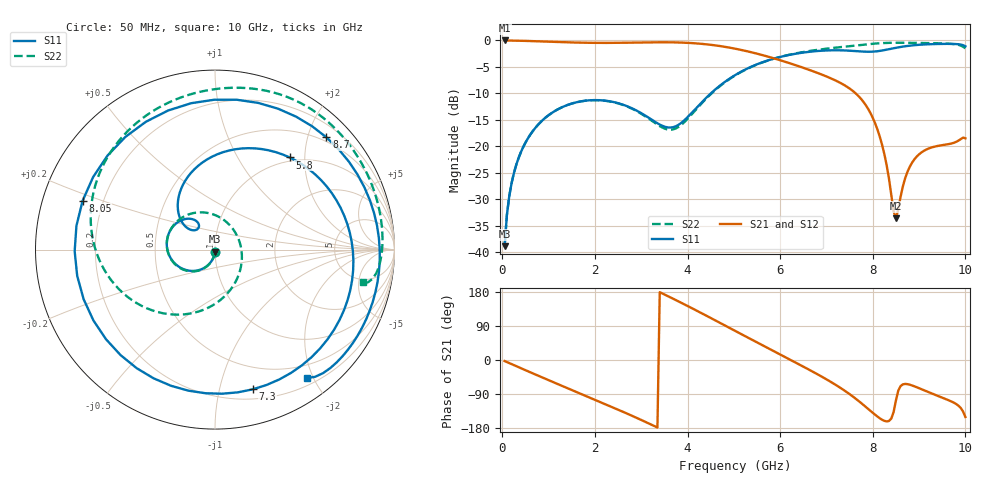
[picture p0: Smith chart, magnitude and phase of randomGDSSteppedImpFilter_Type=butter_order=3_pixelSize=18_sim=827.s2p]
! freq	dB(S11)	phase(S11)	dB(S12)	phase(S12)
!  dB(S21)	phase(S21)	dB(S22)	phase(S22)
!S-par simulation data
#  GHz  S  DB  R 50
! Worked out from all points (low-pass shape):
!   200 points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, 50 MHz to 10 GHz, reference 50 ohm
!   highest |S21| = -0.01 dB at 50 MHz (marker M1); lowest = -33.6 dB at 8.5 GHz (marker M2)
!   |S21| within 3 dB of the highest: start of sweep to 5.714 GHz
!   lowest |S11| = -38.9 dB at 50 MHz (marker M3), VSWR 1.02, Z = 49.9 - j1.14 ohm
!   |S11| at or under -10 dB: start of sweep to 4.504 GHz
!   |S22| runs from -38.9 to -0.4 dB; largest |S21 - S12| = 0
!   S11 on the Smith chart (normalised r, x): 50 MHz: 1.00, -0.02; 5.8 GHz: 0.93, +1.70; 7.3 GHz: 0.28, -1.27; 8.05 GHz: 0.12, +0.18; 8.7 GHz: 0.42, +2.34; 10 GHz: 0.30, -1.91
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0.05  -38.88 -92.2  -0.01 -2.7  -0.01 -2.7  -38.88 -92.1
0.2  -26.99 -101.1  -0.03 -10.8  -0.03 -10.8  -26.99 -100.8
0.5  -19.32 -117.8  -0.09 -26.9  -0.09 -26.9  -19.32 -117.0
1.15  -13.26 -152.4  -0.28 -61.0  -0.28 -61.0  -13.26 -151.0
1.75  -11.44 177.2  -0.43 -91.9  -0.43 -91.9  -11.44 177.5
2.55  -11.98 140.5  -0.45 -133.6  -0.45 -133.6  -12.03 131.2
3.4  -15.90 123.7  -0.35 178.9  -0.35 178.9  -16.20 53.4
3.75  -16.21 135.7  -0.38 158.0  -0.38 158.0  -16.62 -1.8
4.3  -11.75 138.4  -0.64 123.7  -0.64 123.7  -11.93 -74.1
5.05  -6.44 101.3  -1.60 75.5  -1.60 75.5  -6.50 -132.8
5.8  -3.60 51.0  -3.22 27.3  -3.22 27.3  -3.62 -178.3
6.3  -2.57 14.7  -4.58 -4.6  -4.58 -4.6  -2.51 154.5
6.7  -2.08 -16.7  -5.79 -30.5  -5.79 -30.5  -1.91 134.0
7.3  -1.87 -74.9  -8.02 -73.4  -8.02 -73.4  -1.27 104.9
7.65  -2.03 -123.4  -10.16 -103.8  -10.16 -103.8  -0.94 88.5
7.85  -2.13 -159.3  -12.24 -123.8  -12.24 -123.8  -0.76 79.1
8.05  -2.09 159.8  -15.65 -144.4  -15.65 -144.4  -0.59 69.6
8.35  -1.66 99.2  -26.13 -160.9  -26.13 -160.9  -0.46 55.3
8.5  -1.39 73.6  -33.62 -106.8  -33.62 -106.8  -0.44 48.3
8.7  -1.10 45.2  -26.03 -63.1  -26.03 -63.1  -0.45 39.4
9.2  -0.73 -4.0  -20.45 -84.6  -20.45 -84.6  -0.50 18.3
10  -1.11 -54.4  -18.49 -150.4  -18.49 -150.4  -1.48 -12.6
